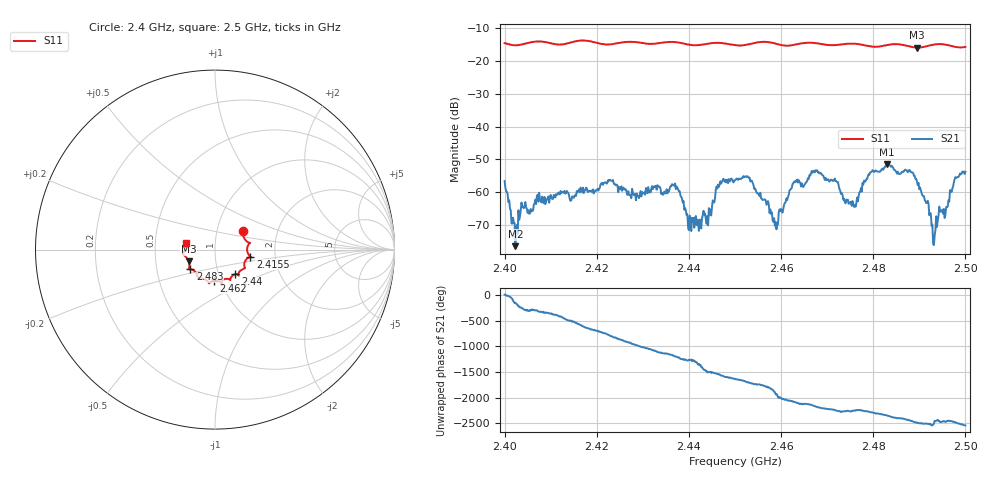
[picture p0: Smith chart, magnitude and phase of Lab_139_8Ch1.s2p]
# Hz S RI R 50
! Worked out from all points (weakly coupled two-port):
!   601 points, 2.4 GHz to 2.5 GHz, reference 50 ohm
!   highest |S21| = -51.45 dB at 2.483 GHz (marker M1); lowest = -76.5 dB at 2.4023 GHz (marker M2)
!   lowest |S11| = -15.9 dB at 2.4895 GHz (marker M3), VSWR 1.38, Z = 37 - j5.01 ohm
!   |S11| at or under -10 dB: start of sweep to end of sweep
!   S12 and S22 are empty: the file has one direction only
!   S11 on the Smith chart (normalised r, x): 2.4 GHz: 1.33, +0.29; 2.4155 GHz: 1.49, -0.12; 2.44 GHz: 1.21, -0.34; 2.462 GHz: 0.93, -0.33; 2.483 GHz: 0.74, -0.17; 2.5 GHz: 0.72, +0.06
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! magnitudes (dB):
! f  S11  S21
! 2.4 GHz  -14.5  -56.6
! 2.4023 GHz  -15.2  -76.5
! 2.404 GHz  -14.8  -64.5
! 2.4155 GHz  -13.9  -61.1
! 2.4167 GHz  -13.7  -59.3
! 2.4333 GHz  -14.6  -58.4
! 2.4372 GHz  -14.2  -59.1
! 2.44 GHz  -15.0  -71.6
! 2.4443 GHz  -14.6  -64.9
! 2.4463 GHz  -14.4  -57.7
! 2.45 GHz  -15.1  -56.4
! 2.4532 GHz  -14.8  -55.6
! 2.4588 GHz  -14.7  -69.1
! 2.462 GHz  -15.2  -59.2
! 2.4667 GHz  -14.4  -53.5
! 2.4758 GHz  -14.7  -64.5
! 2.4793 GHz  -15.5  -54.0
! 2.483 GHz  -15.1  -51.4
! 2.4833 GHz  -15.0  -51.6
! 2.4895 GHz  -15.9  -56.9
! 2.4933 GHz  -14.9  -73.2
! 2.5 GHz  -15.7  -53.8
